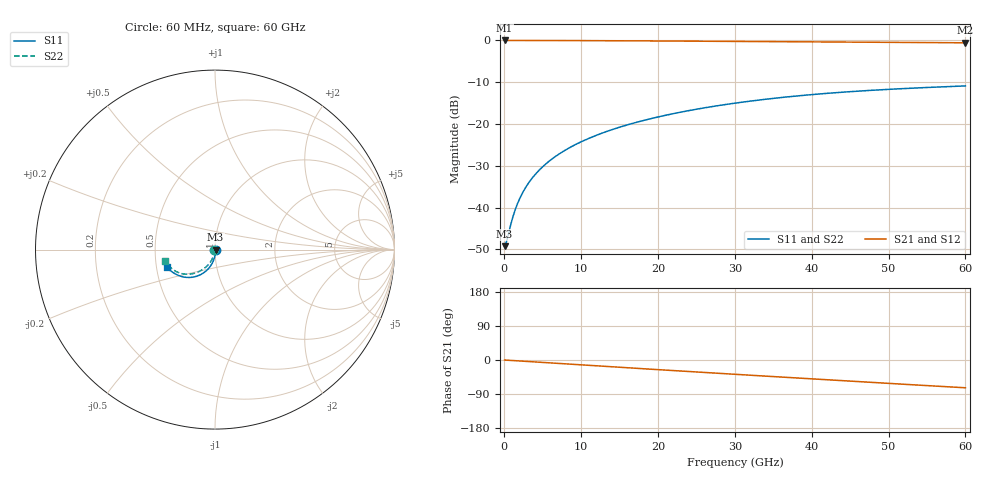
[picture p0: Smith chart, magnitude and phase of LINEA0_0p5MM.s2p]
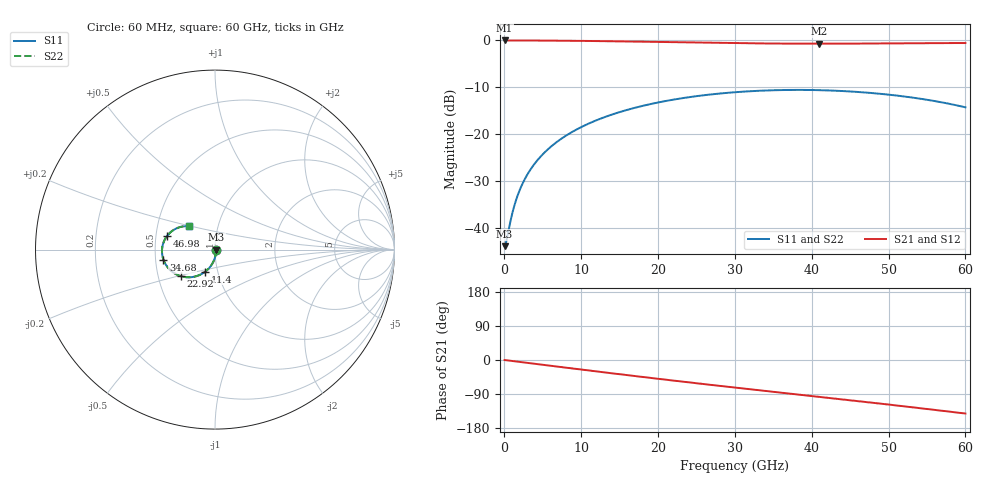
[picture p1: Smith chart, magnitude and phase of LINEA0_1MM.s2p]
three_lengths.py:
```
"""Two-length de-embedding on the 0.5, 1 and 5 mm CST runs, and a fitted
model of the port region.

1. For each pair (short, long), both orderings:
     Ta = T_short^-1 . T_long   = P2^-1 . L(dl) . P2   (keeps the residue of port 2)
     Tb = T_long . T_short^-1   = P1 . L(dl) . P1^-1   (keeps the residue of port 1)
   gamma from half the trace (exact for both), Zc = sqrt(B/C) (each carries a residue).
2. Port model: every run is P . L(l) . mirror(P), P = series Zs then shunt Yp
   (port side to line side). gamma is fixed to the de-embedded value; Zc, Zs, Yp
   are fitted to all three runs at each frequency.
"""
import numpy as np, matplotlib; matplotlib.use('Agg'); import matplotlib.pyplot as plt
from scipy.optimize import least_squares
src = open('cascade_extract.py').read()
exec(src.split("f,S1=load")[0])                       # load, s2abcd, abcd2s, c, R0
f, S05 = load('LINEA0_0p5MM.s2p'); _, S1 = load('LINEA0_1MM.s2p'); _, S5 = load('LINEA0_5MM.s2p')
runs = {0.5e-3: s2abcd(S05), 1e-3: s2abcd(S1), 5e-3: s2abcd(S5)}
w = 2*np.pi*f; F = f/1e9; nf = len(f)
DB = 20/np.log(10)

def gamma_from_trace(T, L):
    A = (T[:, 0, 0] + T[:, 1, 1]) / 2
    r = np.sqrt(A*A - 1 + 0j); y = A - r; y = np.where(abs(y) > 1, A + r, y)   # y = e^{-gamma L}
    al = -np.log(abs(y)) / L; be = -np.unwrap(np.angle(y)) / L
    return al + 1j*be

def zc(T):
    Z = np.sqrt(T[:, 0, 1] / T[:, 1, 0]); return np.where(Z.real < 0, -Z, Z)

pairs = [(1e-3, 5e-3), (0.5e-3, 1e-3), (0.5e-3, 5e-3)]
res = {}
for a, b in pairs:
    Ta = np.linalg.solve(runs[a], runs[b])                    # T_a^-1 T_b
    Tb = runs[b] @ np.linalg.inv(runs[a])                     # T_b T_a^-1
    dl = b - a
    res[(a, b)] = dict(g=gamma_from_trace(Ta, dl), gb=gamma_from_trace(Tb, dl), Za=zc(Ta), Zb=zc(Tb))

idx = [np.argmin(abs(F - x)) for x in [1, 5, 10, 20, 30, 40, 50, 60]]
lab = {k: f"{(k[1]-k[0])*1e3:g} mm ({k[1]*1e3:g}-{k[0]*1e3:g})" for k in pairs}
print("== gamma: alpha (dB/cm) and n_m for the three de-embedded lines")
print(" f   | " + " | ".join(f"{lab[k]:^20}" for k in pairs))
for i in idx:
    print(f"{F[i]:4.0f} | " + " | ".join(f"{res[k]['g'][i].real*DB/100:6.3f}  {res[k]['g'][i].imag*c/w[i]:7.4f}  " for k in pairs))
print("check: both orderings give the same gamma, max diff =",
      max(np.abs(res[k]['g'] - res[k]['gb'])[1:].max() for k in pairs))
g45, g4, g05 = res[(0.5e-3, 5e-3)]['g'], res[(1e-3, 5e-3)]['g'], res[(0.5e-3, 1e-3)]['g']
print("consistency |g4.5*4.5 - (g4*4 + g0.5*0.5)| (Np, rad), max over f:",
      np.abs(g45*4.5e-3 - (g4*4e-3 + g05*0.5e-3))[1:].max())

print("\n== Zc = sqrt(B/C): residue of port 2 (T_s^-1 T_l) vs port 1 (T_l T_s^-1)")
for i in idx:
    print(f"{F[i]:4.0f} | " + " | ".join(f"{res[k]['Za'][i].real:5.2f}{res[k]['Za'][i].imag:+5.2f}j / {res[k]['Zb'][i].real:5.2f}{res[k]['Zb'][i].imag:+5.2f}j" for k in pairs))

# ---------------- port model fit -----------------
g = g45                                                       # best gamma (longest difference)
def Lmat(gl, Z):
    ch, sh = np.cosh(gl), np.sinh(gl)
    return np.array([[ch, Z*sh], [sh/Z, ch]])
def mirror(P):
    return np.array([[P[1, 1], P[0, 1]], [P[1, 0], P[0, 0]]])
def model(p, k):
    Z, Zs, Yp = p[0]+1j*p[1], p[2]+1j*p[3], p[4]+1j*p[5]
    P = np.array([[1, Zs], [0, 1]]) @ np.array([[1, 0], [Yp, 1]])
    return {L: P @ Lmat(g[k]*L, Z) @ mirror(P) for L in runs}
def s_of(T):
    A, B, C, D = T[0, 0], T[0, 1], T[1, 0], T[1, 1]; d = A + B/R0 + C*R0 + D
    return np.array([(A + B/R0 - C*R0 - D)/d, 2/d, (-A + B/R0 - C*R0 + D)/d])
meas = {L: abcd2s(T) for L, T in runs.items()}
fit = np.zeros((nf, 6)); resid = np.zeros(nf)
p0 = np.array([zc(np.linalg.solve(runs[1e-3], runs[5e-3]))[1].real, 0, 0, 0, 0, 0])
for k in range(1, nf):
    def r(p):
        M = model(p, k); out = []
        for L in runs:
            Sm = meas[L][k]; e = s_of(M[L]) - np.array([Sm[0, 0], Sm[1, 0], Sm[1, 1]])
            out += [e.real, e.imag]
        return np.concatenate(out)
    sol = least_squares(r, p0, x_scale=[10, 10, 1, 1, 1e-3, 1e-3])
    fit[k] = sol.x; p0 = sol.x; resid[k] = np.abs(r(sol.x)).max()
Zfit = fit[:, 0] + 1j*fit[:, 1]; Zs = fit[:, 2] + 1j*fit[:, 3]; Yp = fit[:, 4] + 1j*fit[:, 5]
# one port region as a 2-port referenced to Zfit
Pk = [np.array([[1, Zs[k]], [0, 1]]) @ np.array([[1, 0], [Yp[k], 1]]) for k in range(nf)]
def s_ref(T, Z):
    A, B, C, D = T[0, 0], T[0, 1], T[1, 0], T[1, 1]; d = A + B/Z + C*Z + D
    return (A + B/Z - C*Z - D)/d, 2/d
pS11 = np.array([s_ref(Pk[k], Zfit[k])[0] if k else 0 for k in range(nf)])
pS21 = np.array([s_ref(Pk[k], Zfit[k])[1] if k else 1 for k in range(nf)])
print("\n== port model: Zc fitted, series Zs, shunt Yp; one port region in the Zc reference")
print(" f   Zc fit        Zs (ohm)        R_s   L_s(pH)  C_p(fF) G_p(mS) | |S21p| dB  ang S21p  |S11p| dB  max resid")
for i in idx:
    print(f"{F[i]:4.0f} {Zfit[i].real:5.2f}{Zfit[i].imag:+5.2f}j  {Zs[i].real:6.3f}{Zs[i].imag:+6.3f}j  "
          f"{Zs[i].real:5.3f} {Zs[i].imag/w[i]*1e12:7.2f}  {Yp[i].imag/w[i]*1e15:7.2f} {Yp[i].real*1e3:7.3f} | "
          f"{20*np.log10(abs(pS21[i])):8.4f}  {np.rad2deg(np.angle(pS21[i])):7.3f}  {20*np.log10(abs(pS11[i])):7.1f}  {resid[i]:.1e}")
np.savez('three_lengths_results.npz', f=f, g=g, Zfit=Zfit, Zs=Zs, Yp=Yp, **{f"g_{k[0]*1e4:g}_{k[1]*1e4:g}": res[k]['g'] for k in pairs})

# ---------------- figure -----------------
fig, ax = plt.subplots(2, 3, figsize=(15, 8))
cols = ['#1f4e9a', '#d9541e', '#2e8b57']
for k, cl in zip(pairs, cols):
    ax[0, 0].plot(F[1:], res[k]['g'][1:].real*DB/100, color=cl, label=lab[k])
    ax[0, 1].plot(F[1:], res[k]['g'][1:].imag*c/w[1:], color=cl)
    ax[0, 2].plot(F[1:], res[k]['Za'][1:].real, color=cl); ax[0, 2].plot(F[1:], res[k]['Zb'][1:].real, ':', color=cl)
ax[0, 2].plot(F[1:], Zfit[1:].real, 'k', lw=2, label='fit with port model')
ax[0, 0].set_ylabel('α (dB/cm)'); ax[0, 1].set_ylabel('n_m'); ax[0, 2].set_ylabel('Re Zc (Ω)  solid: P2 residue, dotted: P1')
ax[0, 0].legend(); ax[0, 2].legend(); ax[0, 1].set_ylim(1.85, 2.1); ax[0, 2].set_ylim(33, 41)
ax[1, 0].plot(F[1:], 20*np.log10(abs(pS21[1:])), color='k'); ax[1, 0].set_ylabel('one port region: |S21| (dB)')
ax[1, 1].plot(F[1:], np.rad2deg(np.angle(pS21[1:])), color='k'); ax[1, 1].set_ylabel('one port region: ∠S21 (deg)')
ax[1, 2].plot(F[1:], 20*np.log10(abs(pS11[1:])), color='k'); ax[1, 2].set_ylabel('one port region: |S11| (dB), Zc ref')
for a in ax.flat: a.grid(alpha=.3); a.set_xlabel('Frequency (GHz)')
fig.suptitle('De-embedded line parameters from three lengths, and the fitted port region')
fig.tight_layout(); fig.savefig('three_lengths.png', dpi=140)
```
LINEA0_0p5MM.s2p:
! TOUCHSTONE file generated by CST MICROWAVE STUDIO
! Date and time: Tue Oct 13 15:42:55 2026
! Project name: LINEA0_0.5MM.cst
! Parameters = {GAP=0.00415; L=0.5; L1=0.02; L2=0.086; L3=0.066; NCELL=1; PITCH=0.18; START_POSITION=0.08; W1=0.003; W2=0.004; W3=0.009; WG=0.04985; gap_oxr=0.00125; linbo3_thickness=0.0002; mtx=0.002; oxiDinE=0.0014; w=0.15; ws=0.035}
! Header version: 2024
! Port assignment regex: !\s*Touchstone port\s*([0-9]+)\s*=\s*(CST MWS port|CST DES external port|CST DES block port)\s*(.+)\s* \(\"(.*)\"\)(\s*mode\s*([0-9]+))?.*
! Touchstone port assignment:
! Touchstone port 1 = CST MWS port 1 ("")
! Touchstone port 2 = CST MWS port 2 ("")
# GHz S MA R 50
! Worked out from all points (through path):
!   1000 points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, 60 MHz to 60 GHz, reference 50 ohm
!   highest |S21| = -0.03 dB at 60 MHz (marker M1); lowest = -0.6 dB at 60 GHz (marker M2)
!   group delay of S21, straight-line fit = 3.39 ps
!   lowest |S11| = -49.2 dB at 60 MHz (marker M3), VSWR 1.01, Z = 50.3 - j0.0373 ohm
!   |S11| at or under -10 dB: start of sweep to end of sweep
!   |S22| runs from -49.2 to -10.9 dB; largest |S21 - S12| = 2e-07
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0.06  0.003463 -6.1  0.9966 -0.1  0.9966 -0.1  0.003463 -174.0
0.36  0.004086 -33.0  0.9965 -0.5  0.9965 -0.5  0.004086 -148.0
1.56  0.01013 -71.8  0.9965 -2.0  0.9965 -2.0  0.01013 -112.2
2.82  0.01757 -81.8  0.9962 -3.6  0.9962 -3.6  0.01757 -105.5
4.86  0.02988 -88.7  0.9956 -6.3  0.9956 -6.3  0.02988 -103.8
7.62  0.04666 -94.2  0.9943 -9.8  0.9943 -9.8  0.04666 -105.4
11.52  0.07037 -100.0  0.9915 -14.8  0.9915 -14.8  0.07037 -109.6
16.5  0.1004 -106.5  0.9867 -21.1  0.9867 -21.1  0.1004 -115.6
30.06  0.1776 -123.9  0.9707 -37.8  0.9707 -37.8  0.1776 -131.7
45.48  0.2451 -143.3  0.9529 -56.3  0.9529 -56.3  0.2451 -149.4
60  0.2851 -159.7  0.9343 -73.3  0.9343 -73.3  0.2851 -166.9
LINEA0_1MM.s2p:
! TOUCHSTONE file generated by CST MICROWAVE STUDIO
! Date and time: Tue Oct 13 10:02:14 2026
! Project name: LINEA0_1MM.cst
! Parameters = {GAP=0.00415; L=1; L1=0.02; L2=0.086; L3=0.066; NCELL=1; PITCH=0.18; START_POSITION=0.08; W1=0.003; W2=0.004; W3=0.009; WG=0.04985; gap_oxr=0.00125; linbo3_thickness=0.0002; mtx=0.002; oxiDinE=0.0014; w=0.15; ws=0.035}
! Header version: 2024
! Port assignment regex: !\s*Touchstone port\s*([0-9]+)\s*=\s*(CST MWS port|CST DES external port|CST DES block port)\s*(.+)\s* \(\"(.*)\"\)(\s*mode\s*([0-9]+))?.*
! Touchstone port assignment:
! Touchstone port 1 = CST MWS port 1 ("")
! Touchstone port 2 = CST MWS port 2 ("")
# GHz S MA R 50
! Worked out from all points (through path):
!   1000 points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, 60 MHz to 60 GHz, reference 50 ohm
!   highest |S21| = -0.07 dB at 60 MHz (marker M1); lowest = -0.8 dB at 40.98 GHz (marker M2)
!   group delay of S21, straight-line fit = 6.45 ps
!   lowest |S11| = -43.8 dB at 60 MHz (marker M3), VSWR 1.01, Z = 50.6 - j0.0756 ohm
!   |S11| at or under -10 dB: start of sweep to end of sweep
!   |S22| runs from -43.8 to -10.6 dB; largest |S21 - S12| = 1.7e-06
!   S11 on the Smith chart (normalised r, x): 60 MHz: 1.01, -0.00; 11.4 GHz: 0.87, -0.22; 22.92 GHz: 0.66, -0.21; 34.68 GHz: 0.55, -0.07; 46.98 GHz: 0.57, +0.10; 60 GHz: 0.73, +0.20
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0.06  0.006443 -6.7  0.9921 -0.2  0.9921 -0.2  0.006443 -6.7
1.74  0.02213 -77.2  0.9918 -4.4  0.9918 -4.4  0.02213 -77.2
3.72  0.04561 -90.6  0.9907 -9.4  0.9907 -9.4  0.04561 -90.6
6.9  0.08321 -101.6  0.9872 -17.4  0.9872 -17.4  0.08321 -101.6
11.4  0.134 -113.8  0.9791 -28.6  0.9791 -28.6  0.134 -113.8
22.92  0.2397 -141.6  0.9479 -56.4  0.9479 -56.4  0.2397 -141.6
30.06  0.2795 -158.3  0.9291 -72.9  0.9291 -72.9  0.2795 -158.3
34.68  0.2926 -168.9  0.9207 -83.2  0.9207 -83.2  0.2926 -168.9
40.98  0.2938 177.0  0.9164 -97.2  0.9164 -97.2  0.2938 177.0
46.98  0.2774 163.9  0.9197 -110.6  0.9197 -110.6  0.2774 163.9
60  0.1931 137.7  0.9312 -141.3  0.9312 -141.3  0.1931 137.7
